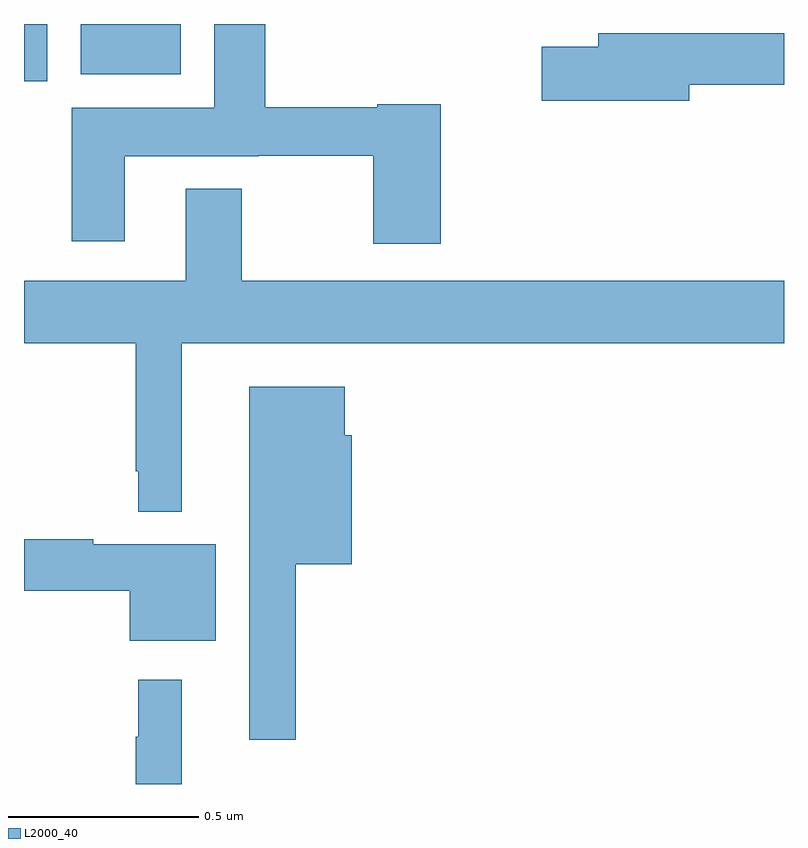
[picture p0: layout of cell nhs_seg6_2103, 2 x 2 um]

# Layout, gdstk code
import gdstk
lib = gdstk.Library(unit=1e-6, precision=1e-09)
def R(c, l, rs):  # rectangles x0, y0, x1, y1
    for r in rs: c.add(gdstk.rectangle(r[:2], r[2:], *l))
def P(c, l, *ps):  # polygons
    for p in ps: c.add(gdstk.Polygon(p, *l))
L2000_40 = (2000, 40)

nhs_seg6_2103 = lib.new_cell('nhs_seg6_2103')
R(nhs_seg6_2103, L2000_40, [(138,957.35,138.061,957.5), (138.149,957.368,138.412,957.5)])
P(nhs_seg6_2103, L2000_40, [(139.097,957.289),(138.93,957.289),(138.93,957.281),(138.635,957.281),(138.635,957.5),(138.5,957.5),(138.5,957.28),(138.125,957.28),(138.125,956.928),(138.265,956.928),(138.265,957.152),(138.618,957.152),(138.618,957.153),(138.919,957.153),(138.919,956.922),(139.097,956.922)],
  [(139.75,957.34),(140,957.34),(140,957.476),(139.511,957.476),(139.511,957.44),(139.362,957.44),(139.362,957.298),(139.75,957.298)],
  [(138.415,956.66),(140,956.66),(140,956.824),(138.573,956.824),(138.573,957.067),(138.425,957.067),(138.425,956.824),(138,956.824),(138,956.66),(138.294,956.66),(138.294,956.323),(138.3,956.323),(138.3,956.216),(138.415,956.216)],
  [(138.715,956.078),(138.862,956.078),(138.862,956.418),(138.844,956.418),(138.844,956.545),(138.593,956.545),(138.593,955.617),(138.715,955.617)],
  [(138.505,956.131),(138.182,956.131),(138.182,956.144),(138,956.144),(138,956.008),(138.278,956.008),(138.278,955.877),(138.505,955.877)],
  [(138.415,955.774),(138.301,955.774),(138.301,955.625),(138.294,955.625),(138.294,955.5),(138.415,955.5)])

lib.write_gds('nhs_seg6_2103.gds')
